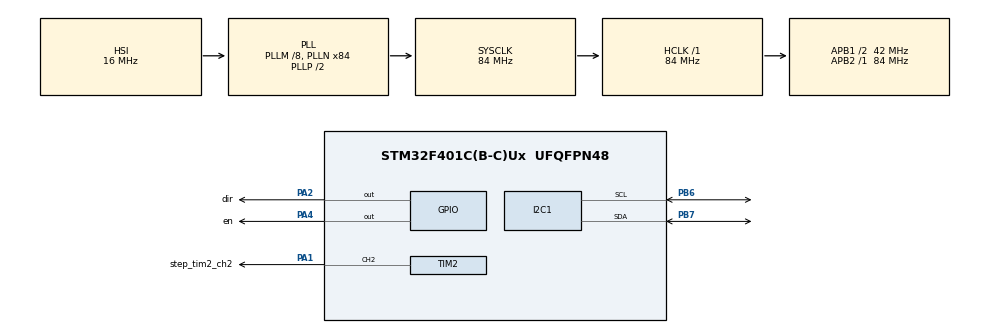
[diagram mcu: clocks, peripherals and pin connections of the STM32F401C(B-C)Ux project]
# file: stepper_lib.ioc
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Mcu.Family=STM32F4
Mcu.Name=STM32F401C(B-C)Ux
Mcu.Package=UFQFPN48
NVIC.PriorityGroup=NVIC_PRIORITYGROUP_4
PA1.GPIO_Label=step_tim2_ch2
PA1.Signal=S_TIM2_CH2
PA13.Mode=Serial_Wire
PA13.Signal=SYS_JTMS-SWDIO
PA14.Mode=Serial_Wire
PA14.Signal=SYS_JTCK-SWCLK
PA2.GPIO_Label=dir
PA2.Signal=GPIO_Output
PA4.GPIO_Label=en
PA4.Signal=GPIO_Output
PB6.Mode=I2C
PB6.Signal=I2C1_SCL
PB7.Mode=I2C
PB7.Signal=I2C1_SDA
PC14-OSC32_IN.Mode=LSE-External-Oscillator
PC14-OSC32_IN.Signal=RCC_OSC32_IN
PC15-OSC32_OUT.Mode=LSE-External-Oscillator
PC15-OSC32_OUT.Signal=RCC_OSC32_OUT
PH0\ -\ OSC_IN.Mode=HSE-External-Oscillator
PH0\ -\ OSC_IN.Signal=RCC_OSC_IN
PH1\ -\ OSC_OUT.Mode=HSE-External-Oscillator
PH1\ -\ OSC_OUT.Signal=RCC_OSC_OUT
ProjectManager.HeapSize=0x200
ProjectManager.StackSize=0x400
ProjectManager.TargetToolchain=STM32CubeIDE
RCC.48MHZClocksFreq_Value=42000000
RCC.AHBFreq_Value=84000000
RCC.APB1CLKDivider=RCC_HCLK_DIV2
RCC.APB1Freq_Value=42000000
RCC.APB1TimFreq_Value=84000000
RCC.APB2Freq_Value=84000000
RCC.APB2TimFreq_Value=84000000
RCC.CortexFreq_Value=84000000
RCC.HCLKFreq_Value=84000000
RCC.HSE_VALUE=25000000
RCC.HSI_VALUE=16000000
RCC.PLLM=8
RCC.PLLN=84
RCC.SYSCLKFreq_VALUE=84000000
RCC.SYSCLKSource=RCC_SYSCLKSOURCE_PLLCLK
RCC.VCOOutputFreq_Value=168000000
SH.S_TIM2_CH2.0=TIM2_CH2,PWM Generation2 CH2
TIM2.AutoReloadPreload=TIM_AUTORELOAD_PRELOAD_ENABLE
TIM2.Channel-PWM\ Generation2\ CH2=TIM_CHANNEL_2
TIM2.Period=999
TIM2.Prescaler=83
TIM2.Pulse-PWM\ Generation2\ CH2=500
VP_TIM2_VS_ClockSourceINT.Mode=Internal
board=custom

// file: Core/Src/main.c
/* USER CODE BEGIN Header */
/**
  ******************************************************************************
  * @file           : main.c
  * @brief          : Main program body
  ******************************************************************************
  * @attention
  *
  * Copyright (c) 2025 STMicroelectronics.
  * All rights reserved.
  *
  * This software is licensed under terms that can be found in the LICENSE file
  * in the root directory of this software component.
  * If no LICENSE file comes with this software, it is provided AS-IS.

  ******************************************************************************
  */
/* USER CODE END Header */
#include "main.h"

/* USER CODE BEGIN Includes */
#include "stepper.h"
#include <string.h>

/* USER CODE END Includes */

I2C_HandleTypeDef hi2c1;

TIM_HandleTypeDef htim2;

void SystemClock_Config(void);
static void MX_GPIO_Init(void);
static void MX_TIM2_Init(void);
static void MX_I2C1_Init(void);

/* USER CODE BEGIN 0 */
//typedef struct {
//    uint8_t cmd;
//    uint8_t dir;
//    uint16_t duration;
//    uint16_t speed;
//} StepperCmd;

typedef struct __attribute__((packed)) {
    uint8_t cmd;
    uint8_t dir;
    uint16_t duration;
    uint16_t speed;
} StepperCmd;

#define CMD_MOVE  0x01

uint8_t i2c_rx_buf[6];
volatile uint8_t cmd_ready = 0;
StepperCmd step_cmd;

/* USER CODE END 0 */

int main(void)
{

  /* MCU Configuration--------------------------------------------------------*/

  /* Reset of all peripherals, Initializes the Flash interface and the Systick. */
  HAL_Init();

  /* Configure the system clock */
  SystemClock_Config();

  /* Initialize all configured peripherals */
  MX_GPIO_Init();
  MX_TIM2_Init();
  MX_I2C1_Init();
  /* USER CODE BEGIN 2 */
//  Stepper_Init(&htim2);
//  HAL_I2C_Slave_Receive_IT(&hi2c1, i2c_rx_buf, 6);

  /* THIS IS THE KEY LINE */
  HAL_I2C_EnableListen_IT(&hi2c1);

  Stepper_Init(&htim2);

  Stepper_Start(0, 2, 5000);

  HAL_Delay(3000);   // wait until first motion finishes

  Stepper_Start(0, 2, 5000);

//  Stepper_Start(0, 5, 1000);
//  HAL_Delay(6000);

//  Stepper_Init(&htim2);
  // Forward, 5 seconds, 500 steps/sec
//  Stepper_Start(1, 5, 1000);
//
//  Stepper_Start(0, 5, 1000);

  /* USER CODE END 2 */

  /* Infinite loop */
  /* USER CODE BEGIN WHILE */

  while (1)
  {

	  if (cmd_ready)
	       {
	           cmd_ready = 0;

	           if (step_cmd.cmd == CMD_MOVE)
	           {
	               Stepper_Start(
	                   step_cmd.dir,
	                   step_cmd.duration,
	                   step_cmd.speed
	               );
	           }
	       }

	       Stepper_Update();

    /* USER CODE END WHILE */

  }
}

void SystemClock_Config(void)
{
  RCC_OscInitTypeDef RCC_OscInitStruct = {0};
  RCC_ClkInitTypeDef RCC_ClkInitStruct = {0};

  /** Configure the main internal regulator output voltage
  */
  __HAL_RCC_PWR_CLK_ENABLE();
  __HAL_PWR_VOLTAGESCALING_CONFIG(PWR_REGULATOR_VOLTAGE_SCALE2);

  /** Initializes the RCC Oscillators according to the specified parameters
  * in the RCC_OscInitTypeDef structure.
  */
  RCC_OscInitStruct.OscillatorType = RCC_OSCILLATORTYPE_HSI;
  RCC_OscInitStruct.HSIState = RCC_HSI_ON;
  RCC_OscInitStruct.HSICalibrationValue = RCC_HSICALIBRATION_DEFAULT;
  RCC_OscInitStruct.PLL.PLLState = RCC_PLL_ON;
  RCC_OscInitStruct.PLL.PLLSource = RCC_PLLSOURCE_HSI;
  RCC_OscInitStruct.PLL.PLLM = 8;
  RCC_OscInitStruct.PLL.PLLN = 84;
  RCC_OscInitStruct.PLL.PLLP = RCC_PLLP_DIV2;
  RCC_OscInitStruct.PLL.PLLQ = 4;
  if (HAL_RCC_OscConfig(&RCC_OscInitStruct) != HAL_OK)
  {
    Error_Handler();
  }

  /** Initializes the CPU, AHB and APB buses clocks
  */
  RCC_ClkInitStruct.ClockType = RCC_CLOCKTYPE_HCLK|RCC_CLOCKTYPE_SYSCLK
                              |RCC_CLOCKTYPE_PCLK1|RCC_CLOCKTYPE_PCLK2;
  RCC_ClkInitStruct.SYSCLKSource = RCC_SYSCLKSOURCE_PLLCLK;
  RCC_ClkInitStruct.AHBCLKDivider = RCC_SYSCLK_DIV1;
  RCC_ClkInitStruct.APB1CLKDivider = RCC_HCLK_DIV2;
  RCC_ClkInitStruct.APB2CLKDivider = RCC_HCLK_DIV1;

  if (HAL_RCC_ClockConfig(&RCC_ClkInitStruct, FLASH_LATENCY_2) != HAL_OK)
  {
    Error_Handler();
  }
}

static void MX_I2C1_Init(void)
{

  hi2c1.Instance = I2C1;
  hi2c1.Init.ClockSpeed = 100000;
  hi2c1.Init.DutyCycle = I2C_DUTYCYCLE_2;
  hi2c1.Init.OwnAddress1 = 0;
  hi2c1.Init.AddressingMode = I2C_ADDRESSINGMODE_7BIT;
  hi2c1.Init.DualAddressMode = I2C_DUALADDRESS_DISABLE;
  hi2c1.Init.OwnAddress2 = 0;
  hi2c1.Init.GeneralCallMode = I2C_GENERALCALL_DISABLE;
  hi2c1.Init.NoStretchMode = I2C_NOSTRETCH_DISABLE;
  if (HAL_I2C_Init(&hi2c1) != HAL_OK)
  {
    Error_Handler();
  }

}

static void MX_TIM2_Init(void)
{

  TIM_ClockConfigTypeDef sClockSourceConfig = {0};
  TIM_MasterConfigTypeDef sMasterConfig = {0};
  TIM_OC_InitTypeDef sConfigOC = {0};

  htim2.Instance = TIM2;
  htim2.Init.Prescaler = 83;
  htim2.Init.CounterMode = TIM_COUNTERMODE_UP;
  htim2.Init.Period = 999;
  htim2.Init.ClockDivision = TIM_CLOCKDIVISION_DIV1;
  htim2.Init.AutoReloadPreload = TIM_AUTORELOAD_PRELOAD_ENABLE;
  if (HAL_TIM_Base_Init(&htim2) != HAL_OK)
  {
    Error_Handler();
  }
  sClockSourceConfig.ClockSource = TIM_CLOCKSOURCE_INTERNAL;
  if (HAL_TIM_ConfigClockSource(&htim2, &sClockSourceConfig) != HAL_OK)
  {
    Error_Handler();
  }
  if (HAL_TIM_PWM_Init(&htim2) != HAL_OK)
  {
    Error_Handler();
  }
  sMasterConfig.MasterOutputTrigger = TIM_TRGO_RESET;
  sMasterConfig.MasterSlaveMode = TIM_MASTERSLAVEMODE_DISABLE;
  if (HAL_TIMEx_MasterConfigSynchronization(&htim2, &sMasterConfig) != HAL_OK)
  {
    Error_Handler();
  }
  sConfigOC.OCMode = TIM_OCMODE_PWM1;
  sConfigOC.Pulse = 500;
  sConfigOC.OCPolarity = TIM_OCPOLARITY_HIGH;
  sConfigOC.OCFastMode = TIM_OCFAST_DISABLE;
  if (HAL_TIM_PWM_ConfigChannel(&htim2, &sConfigOC, TIM_CHANNEL_2) != HAL_OK)
  {
    Error_Handler();
  }
  HAL_TIM_MspPostInit(&htim2);

}

static void MX_GPIO_Init(void)
{
  GPIO_InitTypeDef GPIO_InitStruct = {0};

  /* GPIO Ports Clock Enable */
  __HAL_RCC_GPIOC_CLK_ENABLE();
  __HAL_RCC_GPIOH_CLK_ENABLE();
  __HAL_RCC_GPIOA_CLK_ENABLE();
  __HAL_RCC_GPIOB_CLK_ENABLE();

  /*Configure GPIO pin Output Level */
  HAL_GPIO_WritePin(GPIOA, dir_Pin|en_Pin, GPIO_PIN_RESET);

  /*Configure GPIO pins : dir_Pin en_Pin */
  GPIO_InitStruct.Pin = dir_Pin|en_Pin;
  GPIO_InitStruct.Mode = GPIO_MODE_OUTPUT_PP;
  GPIO_InitStruct.Pull = GPIO_NOPULL;
  GPIO_InitStruct.Speed = GPIO_SPEED_FREQ_LOW;
  HAL_GPIO_Init(GPIOA, &GPIO_InitStruct);

}

/* USER CODE BEGIN 4 */

/* Address match → THIS is where ACK happens */
void HAL_I2C_AddrCallback(I2C_HandleTypeDef *hi2c,
                          uint8_t TransferDirection,
                          uint16_t AddrMatchCode)
{
    if (hi2c->Instance == I2C1)
    {
        if (TransferDirection == I2C_DIRECTION_TRANSMIT)
        {
            /* Master → Slave */
            HAL_I2C_Slave_Receive_IT(&hi2c1, i2c_rx_buf, 6);
        }
    }
}

/* RX finished */
void HAL_I2C_SlaveRxCpltCallback(I2C_HandleTypeDef *hi2c)
{
    if (hi2c->Instance == I2C1)
    {
        memcpy(&step_cmd, i2c_rx_buf, sizeof(StepperCmd));
        cmd_ready = 1;
    }
}

/* Listen complete → re-arm listen */
void HAL_I2C_ListenCpltCallback(I2C_HandleTypeDef *hi2c)
{
    if (hi2c->Instance == I2C1)
    {
        HAL_I2C_EnableListen_IT(&hi2c1);
    }
}

/* USER CODE END 4 */

void Error_Handler(void)
{
  __disable_irq();
  while (1)
  {
  }
}
